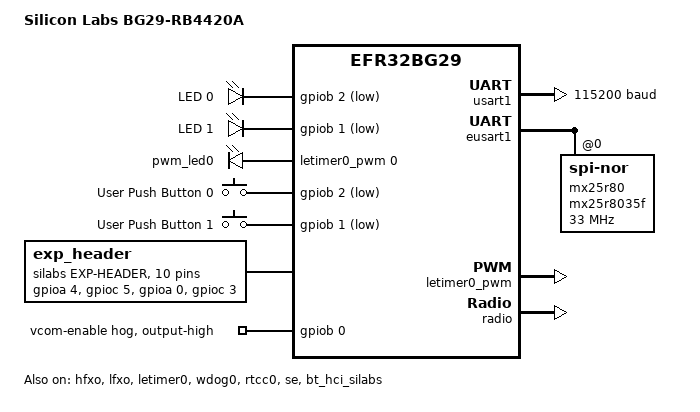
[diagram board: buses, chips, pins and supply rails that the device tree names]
/*
 * Copyright (c) 2025 Silicon Laboratories Inc.
 *
 * SPDX-License-Identifier: Apache-2.0
 */

/dts-v1/;
#include <silabs/xg29/efr32bg29b220f1024cj45.dtsi>
#include <zephyr/dt-bindings/input/input-event-codes.h>
#include <zephyr/dt-bindings/pwm/pwm.h>
#include <zephyr/dt-bindings/regulator/silabs_dcdc.h>
#include "bg29_rb4420a-pinctrl.dtsi"

/ {
	model = "Silicon Labs BG29-RB4420A";
	compatible = "silabs,bg29_rb4420a", "silabs,efr32bg29";

	chosen {
		zephyr,bt-hci = &bt_hci_silabs;
		zephyr,code-partition = &slot0_partition;
		zephyr,console = &usart1;
		zephyr,flash = &flash0;
		zephyr,shell-uart = &usart1;
		zephyr,sram = &sram0;
		zephyr,uart-pipe = &usart1;
	};

	aliases {
		led0 = &led0;
		led1 = &led1;
		pwm-led0 = &pwm_led0;
		spi-flash0 = &mx25r80;
		sw0 = &button0;
		sw1 = &button1;
		watchdog0 = &wdog0;
	};

	leds {
		compatible = "gpio-leds";

		led0: led_0 {
			gpios = <&gpiob 2 GPIO_ACTIVE_LOW>;
			label = "LED 0";
		};

		led1: led_1 {
			gpios = <&gpiob 1 GPIO_ACTIVE_LOW>;
			label = "LED 1";
		};
	};

	pwmleds {
		compatible = "pwm-leds";

		pwm_led0: pwm_led_0 {
			pwms = <&letimer0_pwm 0 PWM_MSEC(20) PWM_POLARITY_INVERTED>;
		};
	};

	buttons {
		compatible = "gpio-keys";

		button0: button_0 {
			gpios = <&gpiob 2 GPIO_ACTIVE_LOW>;
			label = "User Push Button 0";
			zephyr,code = <INPUT_KEY_0>;
		};

		button1: button_1 {
			gpios = <&gpiob 1 GPIO_ACTIVE_LOW>;
			label = "User Push Button 1";
			zephyr,code = <INPUT_KEY_1>;
		};
	};

	exp_header: exp-header {
		compatible = "silabs,exp-header";
		#gpio-cells = <2>;
		gpio-map = <3 0 &gpioa 4 0>,
			   <4 0 &gpioc 5 0>,
			   <5 0 &gpioa 0 0>,
			   <6 0 &gpioc 3 0>,
			   <7 0 &gpiob 2 0>,
			   <8 0 &gpioc 2 0>,
			   <9 0 &gpiob 1 0>,
			   <10 0 &gpioc 6 0>,
			   <12 0 &gpioa 5 0>,
			   <14 0 &gpioa 6 0>;
		gpio-map-mask = <0xffffffff 0x0>;
		gpio-map-pass-thru = <0x0 GPIO_DT_FLAGS_MASK>;
	};
};

&cpu0 {
	clock-frequency = <76800000>;
};

&itm {
	pinctrl-0 = <&itm_default>;
	pinctrl-names = "default";
	swo-ref-frequency = <DT_FREQ_K(76800)>;
};

&hfxo {
	ctune = <133>;
	precision = <50>;
	status = "okay";
};

&lfxo {
	ctune = <32>;
	precision = <50>;
	status = "okay";
};

&hfrcodpll {
	clock-frequency = <DT_FREQ_K(76800)>;
	clocks = <&hfxo>;
	dpll-autorecover;
	dpll-edge = "fall";
	dpll-lock = "phase";
	dpll-m = <1919>;
	dpll-n = <3839>;
};

&em23grpaclk {
	clocks = <&lfxo>;
};

&em4grpaclk {
	clocks = <&lfxo>;
};

&rtccclk {
	clocks = <&lfxo>;
};

&wdog0clk {
	clocks = <&lfxo>;
};

&usart1 {
	current-speed = <115200>;
	pinctrl-0 = <&usart1_default>;
	pinctrl-names = "default";
	status = "okay";
};

&eusart1 {
	#address-cells = <1>;
	#size-cells = <0>;
	clock-frequency = <DT_FREQ_M(8)>;
	pinctrl-0 = <&eusart1_default>;
	pinctrl-names = "default";
	status = "okay";

	cs-gpios = <&gpioc 4 GPIO_ACTIVE_LOW>;

	mx25r80: mx25r8035f@0 {
		compatible = "jedec,spi-nor";
		reg = <0>;
		dpd-wakeup-sequence = <30000 20 35000>;
		has-dpd;
		jedec-id = [c2 28 14];
		mxicy,mx25r-power-mode = "low-power";
		size = <0x800000>;
		spi-max-frequency = <DT_FREQ_M(33)>;
		t-enter-dpd = <0>;
		zephyr,pm-device-runtime-auto;
	};
};

&letimer0 {
	status = "okay";

	letimer0_pwm: pwm {
		pinctrl-0 = <&letimer0_default>;
		pinctrl-names = "default";
		status = "okay";
	};
};

&gpio {
	status = "okay";
};

&gpioa {
	status = "okay";
};

&gpiob {
	status = "okay";

	vcom-enable {
		gpio-hog;
		gpios = <0 GPIO_ACTIVE_HIGH>;
		output-high;
	};
};

&gpioc {
	status = "okay";
};

&gpiod {
	status = "okay";
};

&wdog0 {
	status = "okay";
};

&rtcc0 {
	status = "okay";
};

&se {
	status = "okay";
};

&radio {
	pa-voltage-mv = <1800>;
	pa-initial-power-dbm = <0>;
	pa-2p4ghz = "lp";
};

&bt_hci_silabs {
	status = "okay";
};

&flash0 {
	partitions {
		compatible = "fixed-partitions";
		#address-cells = <1>;
		#size-cells = <1>;

		boot_partition: partition@0 {
			reg = <0x00000000 DT_SIZE_K(48)>;
			label = "mcuboot";
		};

		slot0_partition: partition@c000 {
			reg = <0x0000C000 DT_SIZE_K(472)>;
			label = "image-0";
		};

		slot1_partition: partition@82000 {
			reg = <0x00082000 DT_SIZE_K(472)>;
			label = "image-1";
		};

		storage_partition: partition@F8000 {
			reg = <0x000F8000 DT_SIZE_K(32)>;
			label = "storage";
		};
	};
};
